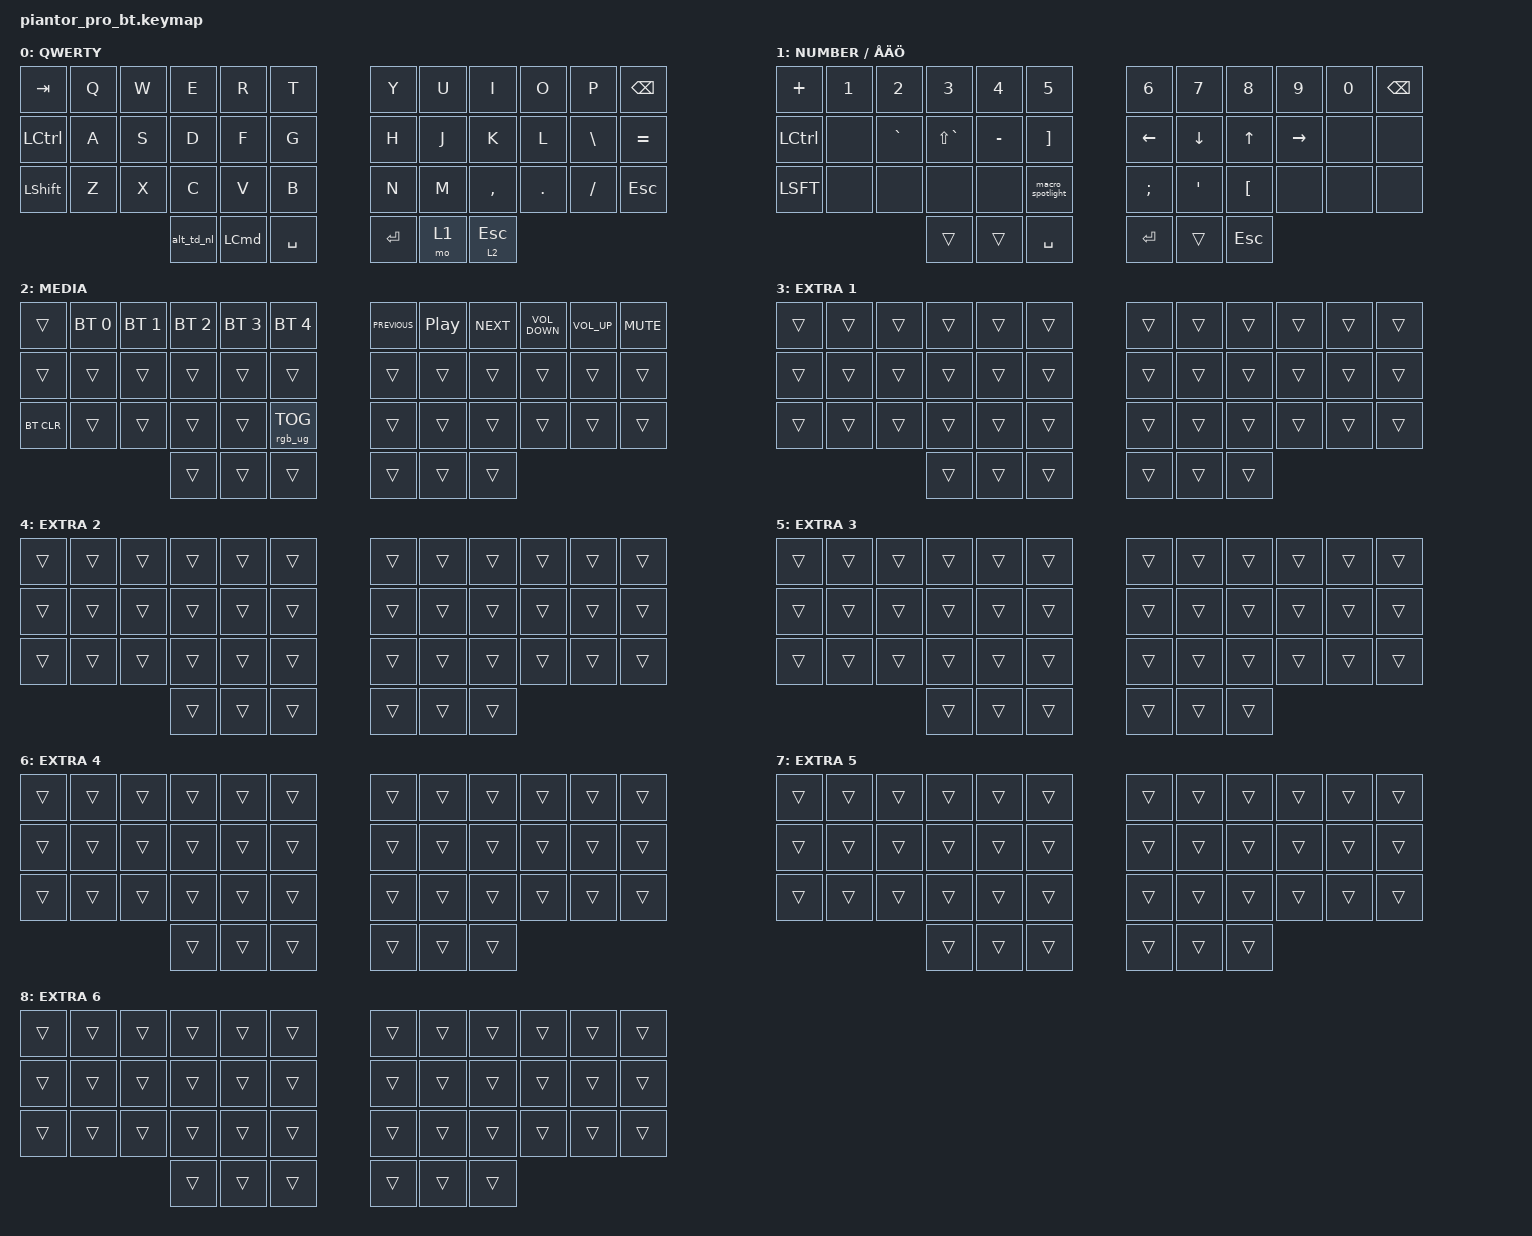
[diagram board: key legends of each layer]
/*
 * Copyright (c) 2020 The ZMK Contributors
 *
 * SPDX-License-Identifier: MIT
 */

#include <behaviors.dtsi>
#include <dt-bindings/zmk/keys.h>
#include <dt-bindings/zmk/bt.h>
#include <dt-bindings/zmk/rgb.h>
#include <dt-bindings/zmk/backlight.h>
#include <dt-bindings/zmk/rgb.h>

/ {
    macros {
        macro_spotlight: macro_spotlight {
            compatible = "zmk,behavior-macro";
            label = "SPOTLIGHT";
            #binding-cells = <0>;
            bindings = <&macro_press &kp LCMD>,
                       <&kp SPACE>,
                       <&macro_release &kp LCMD>;
        };
    };
};

/ {
    behaviors {
        alt_td_nl: tap_dance_to_number_layer {
            compatible = "zmk,behavior-tap-dance";
            #binding-cells = <0>;
            tapping-term-ms = <200>;
            bindings = <&kp LALT>, <&sl 1>;
        };
    };
};

/ {
    chosen {
        zmk,physical-layout = &default_layout;
    };
};

/ {
    keymap {
        compatible = "zmk,keymap";

        default_layer {
            display-name = "QWERTY";
            bindings = <
                &kp TAB   &kp Q &kp W &kp E &kp R &kp T &kp Y &kp U  &kp I     &kp O   &kp P         &kp BSPC
                &kp LCTRL &kp A &kp S &kp D &kp F &kp G &kp H &kp J  &kp K     &kp L   &kp BACKSLASH &kp EQUAL
                &kp LSHFT &kp Z &kp X &kp C &kp V &kp B &kp N &kp M  &kp COMMA &kp DOT &kp FSLH      &kp ESC
                               &alt_td_nl &kp LCMD &kp SPACE      &kp RET &mo 1 &lt 2 ESC
            >;
        };

        lower_layer {
            display-name = "NUMBER / ÅÄÖ";
            // &kp SEMI = Ö
            // &kp SQT = Ä
            // &kp LBKT = Å
            bindings = <
                &kp PLUS &kp N1 &kp N2 &kp N3  &kp N4   &kp N5                         &kp N6   &kp N7   &kp N8   &kp N9    &kp N0  &kp BSPC
                &kp LCTL &none  &kp GRAVE &kp LS(GRAVE)  &kp MINUS &kp RIGHT_BRACKET   &kp LEFT &kp DOWN &kp UP   &kp RIGHT &none   &none
                &kp LSFT &none  &none  &none   &none    &macro_spotlight               &kp SEMI &kp SQT  &kp LBKT &none     &none   &none
                                &trans  &trans  &kp SPACE                                   &kp RET  &trans   &kp ESC
            >;
        };

        raise_layer {
            display-name = "MEDIA";
            bindings = <
                &trans &bt BT_SEL 0 &bt BT_SEL 1 &bt BT_SEL 2 &bt BT_SEL 3 &bt BT_SEL 4   &kp C_PREVIOUS &kp C_PLAY_PAUSE &kp C_NEXT &kp C_VOLUME_DOWN &kp C_VOLUME_UP &kp C_MUTE 
                &trans   &trans &trans &trans &trans &trans                               &trans &trans &trans &trans &trans &trans
                &bt BT_CLR &trans &trans &trans &trans &rgb_ug RGB_TOG                        &trans &trans &trans &trans &trans &trans
                                     &trans &trans &trans                                &trans &trans &trans  
            >;
        };

        extra_layer_1 {
            display-name = "EXTRA 1";
            bindings = <
                &trans &trans &trans &trans &trans &trans  &trans &trans &trans &trans &trans &trans
                &trans &trans &trans &trans &trans &trans  &trans &trans &trans &trans &trans &trans
                &trans &trans &trans &trans &trans &trans  &trans &trans &trans &trans &trans &trans
                                     &trans &trans &trans  &trans &trans &trans       
            >;
        };

        extra_layer_2 {
            display-name = "EXTRA 2";
            bindings = <
                &trans &trans &trans &trans &trans &trans  &trans &trans &trans &trans &trans &trans
                &trans &trans &trans &trans &trans &trans  &trans &trans &trans &trans &trans &trans
                &trans &trans &trans &trans &trans &trans  &trans &trans &trans &trans &trans &trans
                                     &trans &trans &trans  &trans &trans &trans       
            >;
        };

        extra_layer_3 {
            display-name = "EXTRA 3";
            bindings = <
                &trans &trans &trans &trans &trans &trans  &trans &trans &trans &trans &trans &trans
                &trans &trans &trans &trans &trans &trans  &trans &trans &trans &trans &trans &trans
                &trans &trans &trans &trans &trans &trans  &trans &trans &trans &trans &trans &trans
                                     &trans &trans &trans  &trans &trans &trans       
            >;
        };

        extra_layer_4 {
            display-name = "EXTRA 4";
            bindings = <
                &trans &trans &trans &trans &trans &trans  &trans &trans &trans &trans &trans &trans
                &trans &trans &trans &trans &trans &trans  &trans &trans &trans &trans &trans &trans
                &trans &trans &trans &trans &trans &trans  &trans &trans &trans &trans &trans &trans
                                     &trans &trans &trans  &trans &trans &trans       
            >;
        };

        extra_layer_5 {
            display-name = "EXTRA 5";
            bindings = <
                &trans &trans &trans &trans &trans &trans  &trans &trans &trans &trans &trans &trans
                &trans &trans &trans &trans &trans &trans  &trans &trans &trans &trans &trans &trans
                &trans &trans &trans &trans &trans &trans  &trans &trans &trans &trans &trans &trans
                                     &trans &trans &trans  &trans &trans &trans       
            >;
        };

        extra_layer_6 {
            display-name = "EXTRA 6";
            bindings = <
                &trans &trans &trans &trans &trans &trans  &trans &trans &trans &trans &trans &trans
                &trans &trans &trans &trans &trans &trans  &trans &trans &trans &trans &trans &trans
                &trans &trans &trans &trans &trans &trans  &trans &trans &trans &trans &trans &trans
                                     &trans &trans &trans  &trans &trans &trans       
            >;
        };
    };
};
